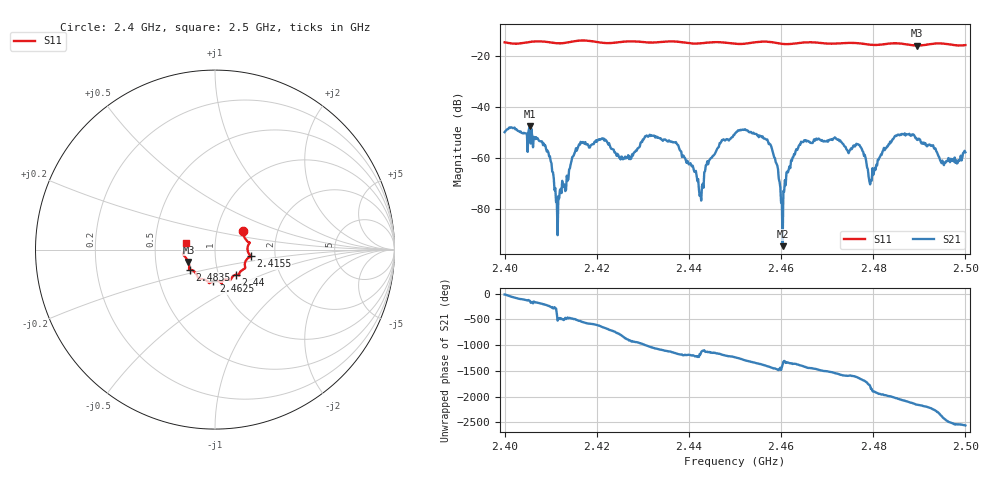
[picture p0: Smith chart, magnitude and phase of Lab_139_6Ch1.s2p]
# Hz S RI R 50
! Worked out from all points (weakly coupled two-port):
!   601 points, 2.4 GHz to 2.5 GHz, reference 50 ohm
!   highest |S21| = -47.44 dB at 2.4055 GHz (marker M1); lowest = -94.4 dB at 2.4603 GHz (marker M2)
!   lowest |S11| = -15.7 dB at 2.4895 GHz (marker M3), VSWR 1.39, Z = 36.8 - j5.16 ohm
!   |S11| at or under -10 dB: start of sweep to end of sweep
!   S12 and S22 are empty: the file has one direction only
!   S11 on the Smith chart (normalised r, x): 2.4 GHz: 1.34, +0.29; 2.4155 GHz: 1.49, -0.11; 2.44 GHz: 1.21, -0.35; 2.4625 GHz: 0.92, -0.34; 2.4835 GHz: 0.74, -0.17; 2.5 GHz: 0.72, +0.05
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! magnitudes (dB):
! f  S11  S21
! 2.4 GHz  -14.5  -49.7
! 2.4055 GHz  -14.3  -47.4
! 2.4093 GHz  -14.3  -57.0
! 2.4113 GHz  -14.8  -76.9
! 2.4155 GHz  -13.9  -56.0
! 2.4167 GHz  -13.7  -54.0
! 2.4262 GHz  -14.2  -59.3
! 2.4333 GHz  -14.4  -51.9
! 2.44 GHz  -14.8  -62.4
! 2.4427 GHz  -14.8  -76.6
! 2.4442 GHz  -14.6  -62.3
! 2.45 GHz  -15.0  -50.2
! 2.4573 GHz  -14.3  -54.4
! 2.4603 GHz  -15.1  -94.4
! 2.4625 GHz  -15.0  -59.6
! 2.4667 GHz  -14.4  -53.9
! 2.4768 GHz  -14.8  -54.6
! 2.4795 GHz  -15.4  -68.6
! 2.4833 GHz  -15.0  -54.5
! 2.4835 GHz  -15.0  -54.4
! 2.4895 GHz  -15.7  -52.7
! 2.5 GHz  -15.6  -57.6
